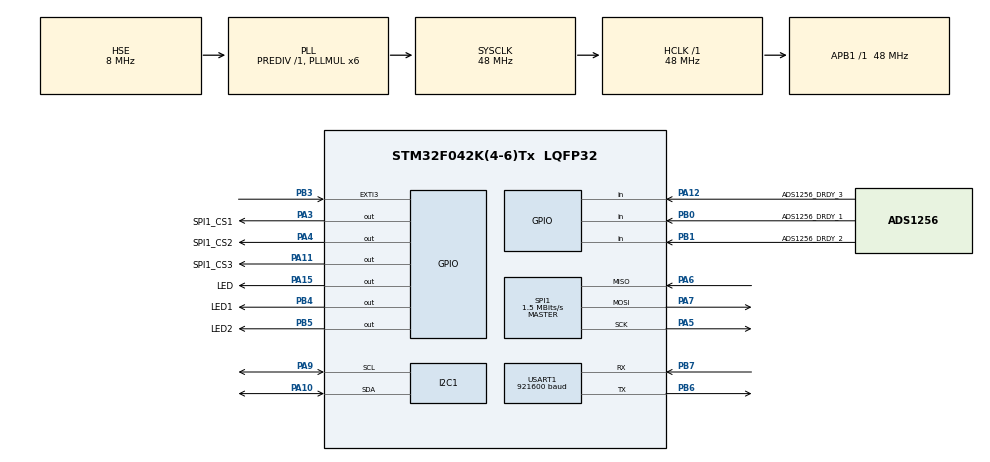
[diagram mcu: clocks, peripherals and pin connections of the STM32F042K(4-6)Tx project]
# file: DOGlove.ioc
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ADC.ClockPrescaler=ADC_CLOCK_SYNC_PCLK_DIV4
ADC.ContinuousConvMode=ENABLE
ADC.DMAContinuousRequests=ENABLE
ADC.Overrun=ADC_OVR_DATA_OVERWRITTEN
ADC.SamplingTime=ADC_SAMPLETIME_41CYCLES_5
Dma.ADC.0.Direction=DMA_PERIPH_TO_MEMORY
Dma.ADC.0.Instance=DMA1_Channel1
Dma.ADC.0.MemDataAlignment=DMA_MDATAALIGN_HALFWORD
Dma.ADC.0.MemInc=DMA_MINC_ENABLE
Dma.ADC.0.Mode=DMA_CIRCULAR
Dma.ADC.0.PeriphDataAlignment=DMA_PDATAALIGN_HALFWORD
Dma.ADC.0.PeriphInc=DMA_PINC_DISABLE
Dma.ADC.0.Priority=DMA_PRIORITY_LOW
Dma.Request0=ADC
I2C1.Analog_Filter=I2C_ANALOGFILTER_ENABLE
I2C1.I2C_Fall_Time=100
I2C1.I2C_Rise_Time=100
I2C1.Speed=100
I2C1.Timing=0x00201D2B
IWDG.Reload=4000
IWDG.Window=4000
Mcu.Family=STM32F0
Mcu.Name=STM32F042K(4-6)Tx
Mcu.Package=LQFP32
NVIC.USART1_IRQn=true\:2\:0\:true\:false\:true\:true\:true\:true
PA10.Mode=I2C
PA10.Signal=I2C1_SDA
PA11.GPIO_Label=SPI1_CS3
PA11.GPIO_Speed=GPIO_SPEED_FREQ_HIGH
PA11.PinState=GPIO_PIN_RESET
PA11.Signal=GPIO_Output
PA12.GPIO_Label=ADS1256_DRDY_3
PA12.GPIO_PuPd=GPIO_PULLUP
PA12.Signal=GPIO_Input
PA13.Mode=Serial_Wire
PA13.Signal=SYS_SWDIO
PA14.Mode=Serial_Wire
PA14.Signal=SYS_SWCLK
PA15.GPIO_Label=LED
PA15.GPIO_Speed=GPIO_SPEED_FREQ_HIGH
PA15.Signal=GPIO_Output
PA3.GPIO_Label=SPI1_CS1
PA3.GPIO_Speed=GPIO_SPEED_FREQ_HIGH
PA3.Signal=GPIO_Output
PA4.GPIO_Label=SPI1_CS2
PA4.GPIO_Speed=GPIO_SPEED_FREQ_HIGH
PA4.PinState=GPIO_PIN_RESET
PA4.Signal=GPIO_Output
PA5.Mode=Full_Duplex_Master
PA5.Signal=SPI1_SCK
PA6.Mode=Full_Duplex_Master
PA6.Signal=SPI1_MISO
PA7.Mode=Full_Duplex_Master
PA7.Signal=SPI1_MOSI
PA9.Mode=I2C
PA9.Signal=I2C1_SCL
PB0.GPIO_Label=ADS1256_DRDY_1
PB0.GPIO_PuPd=GPIO_PULLUP
PB0.Signal=GPIO_Input
PB1.GPIO_Label=ADS1256_DRDY_2
PB1.GPIO_PuPd=GPIO_PULLUP
PB1.Signal=GPIO_Input
PB3.Signal=GPXTI3
PB4.GPIO_Label=LED1
PB4.GPIO_Speed=GPIO_SPEED_FREQ_HIGH
PB4.Signal=GPIO_Output
PB5.GPIO_Label=LED2
PB5.GPIO_Speed=GPIO_SPEED_FREQ_HIGH
PB5.Signal=GPIO_Output
PB6.Mode=Asynchronous
PB6.Signal=USART1_TX
PB7.Mode=Asynchronous
PB7.Signal=USART1_RX
PF0-OSC_IN.Mode=HSE-External-Oscillator
PF0-OSC_IN.Signal=RCC_OSC_IN
PF1-OSC_OUT.Mode=HSE-External-Oscillator
PF1-OSC_OUT.Signal=RCC_OSC_OUT
ProjectManager.HeapSize=0x200
ProjectManager.StackSize=0x400
ProjectManager.TargetToolchain=Makefile
RCC.AHBFreq_Value=48000000
RCC.APB1Freq_Value=48000000
RCC.APB1TimFreq_Value=48000000
RCC.HCLKFreq_Value=48000000
RCC.PLLMUL=RCC_PLL_MUL6
RCC.PLLSourceVirtual=RCC_PLLSOURCE_HSE
RCC.SYSCLKFreq_VALUE=48000000
RCC.SYSCLKSource=RCC_SYSCLKSOURCE_PLLCLK
SPI1.BaudRatePrescaler=SPI_BAUDRATEPRESCALER_32
SPI1.CLKPhase=SPI_PHASE_2EDGE
SPI1.CRCCalculation=SPI_CRCCALCULATION_DISABLE
SPI1.CalculateBaudRate=1.5 MBits/s
SPI1.DataSize=SPI_DATASIZE_8BIT
SPI1.Direction=SPI_DIRECTION_2LINES
SPI1.Mode=SPI_MODE_MASTER
SPI1.VirtualType=VM_MASTER
USART1.BaudRate=921600
USART1.VirtualMode-Asynchronous=VM_ASYNC
VP_ADC_Vref_Input.Mode=IN-Vrefint
VP_IWDG_VS_IWDG.Mode=IWDG_Activate
board=custom

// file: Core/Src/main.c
/* USER CODE BEGIN Header */
/**
  ******************************************************************************
  * @file           : main.c
  * @brief          : Main program body
  ******************************************************************************
  * @attention
  *
  * Copyright (c) 2024 STMicroelectronics.
  * All rights reserved.
  *
  * This software is licensed under terms that can be found in the LICENSE file
  * in the root directory of this software component.
  * If no LICENSE file comes with this software, it is provided AS-IS.
  *
  ******************************************************************************
  */
/* USER CODE END Header */
#include "main.h"
#include "adc.h"
#include "dma.h"
#include "i2c.h"
#include "iwdg.h"
#include "spi.h"
#include "usart.h"
#include "gpio.h"

/* USER CODE BEGIN Includes */
#include "ads1256.h"
#include "drv2605l.h"
#include "delay.h"
#include "lra_control.h"
#include "tca9548a.h"
#include "fsr.h"

/* USER CODE END Includes */

/* USER CODE BEGIN PV */
__IO uint32_t data[19] = {0};

/* USER CODE END PV */

void SystemClock_Config(void);

int main(void)
{

  /* USER CODE BEGIN 1 */
  uint8_t i = 0;
  uint16_t checksum = 0;

  /* USER CODE END 1 */

  /* MCU Configuration--------------------------------------------------------*/

  /* Reset of all peripherals, Initializes the Flash interface and the Systick. */
  HAL_Init();

  /* Configure the system clock */
  SystemClock_Config();

  /* Initialize all configured peripherals */
  MX_GPIO_Init();
  MX_DMA_Init();
  MX_SPI1_Init();
  MX_I2C1_Init();
  MX_USART1_UART_Init();
  MX_IWDG_Init();
  MX_ADC_Init();
  /* USER CODE BEGIN 2 */
  dbh_LRA_Control_Init(); // Initialize the LRA controller
  dbh_ADS1256_Init(0); // Initialize the ADS1256
  dbh_ADS1256_Init(1); // Initialize the ADS1256
  // dbh_ADS1256_Init(2); // Initialize the ADS1256

  dbh_TCA9548A_Init(); // Initialize the TCA9548A

  for (i = 0; i < 5; i++)
  {
    dbh_TCA9548A_SelectChannel(i+3); // Select the first channel on the TCA9548A
    dbh_DRV2605L_Init(); // Initialize the DRV2605L
  }

  //ADC initialization
	HAL_ADCEx_Calibration_Start(&hadc);
	HAL_ADC_Start_DMA(&hadc, (uint32_t*)&_u16ADC_Value, 50);
	HAL_ADC_Start(&hadc);

  HAL_GPIO_WritePin(LED1_GPIO_Port, LED1_Pin, GPIO_PIN_SET); // Turn on the LED1
  HAL_GPIO_WritePin(LED2_GPIO_Port, LED2_Pin, GPIO_PIN_SET); // Turn on the LED2

  /* USER CODE END 2 */

  /* Infinite loop */
  while (1)
  {

    /* USER CODE BEGIN 3 */
    // Haptics feedback control
    // If the waveform number is between 1 and 123, play the waveform
    for (i = 0; i < 5; i++)
    {
      dbh_TCA9548A_SelectChannel(i+3);

      if (dbh_GetWaveNum(i) > 0 && dbh_GetWaveNum(i) < 124)
      {
        if (dbh_GetCounter(i) == 0)
        {
          dbh_ResetCounter(i);
          dbh_DRV2605L_PlayWaveform(dbh_GetWaveNum(i));
        }
      }
      // Else, stop the waveform
      else
      {
        dbh_DRV2605L_StopWaveform();
      }
    }

    // Read the data from the ADS1256
    data[0] = 0x55AA;
    data[1] = dbh_FSR_GetADCValue();
    for (i = 1; i <= 16; i++)
    {
      // i = 0 - 7, for the first ADS1256
      // i = 8 - 15, for the second ADS1256
      dbh_ADS1256_SelectChannel((i-1)%8, i>8);
      data[i+1] = dbh_ADS1256_ReadData(i>8);
      // voltage[i] = (float)data[i] * 5.0 / 0x7FFFFF;
      // voltage[i] = data[i] * 0.000000596;
    }
    // Calculate the checksum
    checksum = 0;
    for (i = 1; i <= 17; i++)
    {
      checksum += data[i];
    }
    data[18] = (checksum << 16) | dbh_GetTimestamp();

    HAL_UART_Transmit(&huart1, (uint8_t *)data, 76, 1000); // Send the data over UART
  }
  /* USER CODE END 3 */
}

void SystemClock_Config(void)
{
  RCC_OscInitTypeDef RCC_OscInitStruct = {0};
  RCC_ClkInitTypeDef RCC_ClkInitStruct = {0};
  RCC_PeriphCLKInitTypeDef PeriphClkInit = {0};

  /** Initializes the RCC Oscillators according to the specified parameters
  * in the RCC_OscInitTypeDef structure.
  */
  RCC_OscInitStruct.OscillatorType = RCC_OSCILLATORTYPE_HSI|RCC_OSCILLATORTYPE_LSI
                              |RCC_OSCILLATORTYPE_HSE;
  RCC_OscInitStruct.HSEState = RCC_HSE_ON;
  RCC_OscInitStruct.HSIState = RCC_HSI_ON;
  RCC_OscInitStruct.HSICalibrationValue = RCC_HSICALIBRATION_DEFAULT;
  RCC_OscInitStruct.LSIState = RCC_LSI_ON;
  RCC_OscInitStruct.PLL.PLLState = RCC_PLL_ON;
  RCC_OscInitStruct.PLL.PLLSource = RCC_PLLSOURCE_HSE;
  RCC_OscInitStruct.PLL.PLLMUL = RCC_PLL_MUL6;
  RCC_OscInitStruct.PLL.PREDIV = RCC_PREDIV_DIV1;
  if (HAL_RCC_OscConfig(&RCC_OscInitStruct) != HAL_OK)
  {
    Error_Handler();
  }

  /** Initializes the CPU, AHB and APB buses clocks
  */
  RCC_ClkInitStruct.ClockType = RCC_CLOCKTYPE_HCLK|RCC_CLOCKTYPE_SYSCLK
                              |RCC_CLOCKTYPE_PCLK1;
  RCC_ClkInitStruct.SYSCLKSource = RCC_SYSCLKSOURCE_PLLCLK;
  RCC_ClkInitStruct.AHBCLKDivider = RCC_SYSCLK_DIV1;
  RCC_ClkInitStruct.APB1CLKDivider = RCC_HCLK_DIV1;

  if (HAL_RCC_ClockConfig(&RCC_ClkInitStruct, FLASH_LATENCY_1) != HAL_OK)
  {
    Error_Handler();
  }
  PeriphClkInit.PeriphClockSelection = RCC_PERIPHCLK_USART1|RCC_PERIPHCLK_I2C1;
  PeriphClkInit.Usart1ClockSelection = RCC_USART1CLKSOURCE_PCLK1;
  PeriphClkInit.I2c1ClockSelection = RCC_I2C1CLKSOURCE_HSI;
  if (HAL_RCCEx_PeriphCLKConfig(&PeriphClkInit) != HAL_OK)
  {
    Error_Handler();
  }
}

void Error_Handler(void)
{
  __disable_irq();
  while (1)
  {
  }
}
